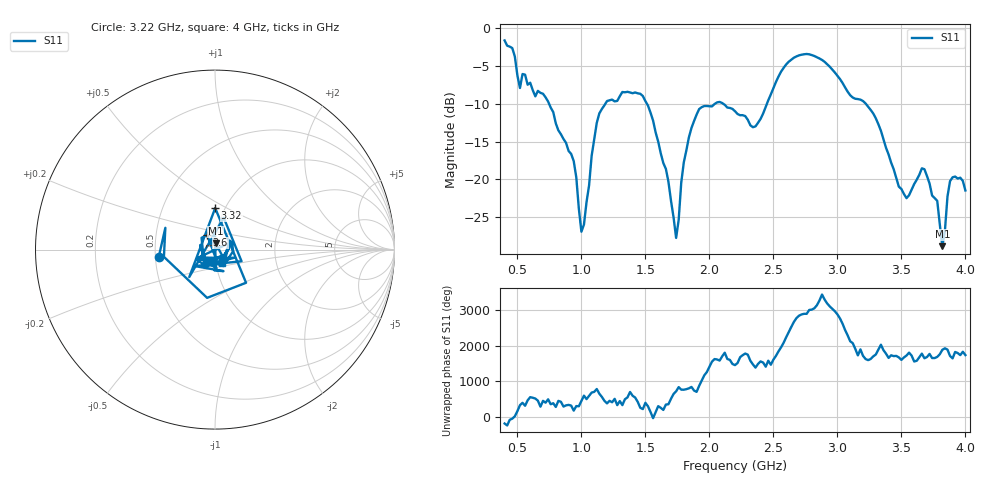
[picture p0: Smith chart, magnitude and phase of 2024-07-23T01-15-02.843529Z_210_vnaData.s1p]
!Created with skrf (http://scikit-rf.org).
# Hz S RI R 50.0
!freq ReS11 ImS11
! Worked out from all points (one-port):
!   181 points, 400 MHz to 4 GHz, reference 50 ohm
!   lowest |S11| = -28.8 dB at 3.82 GHz (marker M1), VSWR 1.08, Z = 50.2 + j3.63 ohm
!   |S11| at or under -10 dB: 746.9 MHz to 1.188 GHz (440.7 MHz wide, 45.6 % of centre); 1.511 GHz to 2.045 GHz (533.4 MHz wide, 30 % of centre); 3.221 GHz to end of sweep (the widest 3 of 4)
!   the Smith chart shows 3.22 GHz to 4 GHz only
!   S11 on the Smith chart (normalised r, x): 3.22 GHz: 0.52, -0.05; 3.32 GHz: 0.90, +0.44; 3.6 GHz: 0.90, +0.15; 4 GHz: 1.07, -0.16
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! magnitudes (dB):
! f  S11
! 400 MHz  -1.7
! 520 MHz  -7.9
! 700 MHz  -8.7
! 860 MHz  -14.7
! 940 MHz  -17.6
! 1 GHz  -26.9
! 1.14 GHz  -11.3
! 1.3 GHz  -9.0
! 1.52 GHz  -10.3
! 1.66 GHz  -18.6
! 1.74 GHz  -27.7
! 1.76 GHz  -25.3
! 1.8 GHz  -17.7
! 1.92 GHz  -10.7
! 2.2 GHz  -11.0
! 2.36 GHz  -13.0
! 2.66 GHz  -3.9
! 2.88 GHz  -4.2
! 3.1 GHz  -8.9
! 3.22 GHz  -10.0
! 3.32 GHz  -12.7
! 3.56 GHz  -22.1
! 3.6 GHz  -20.6
! 3.68 GHz  -18.7
! 3.78 GHz  -22.8
! 3.82 GHz  -28.8
! 3.88 GHz  -20.2
! 4 GHz  -21.5
